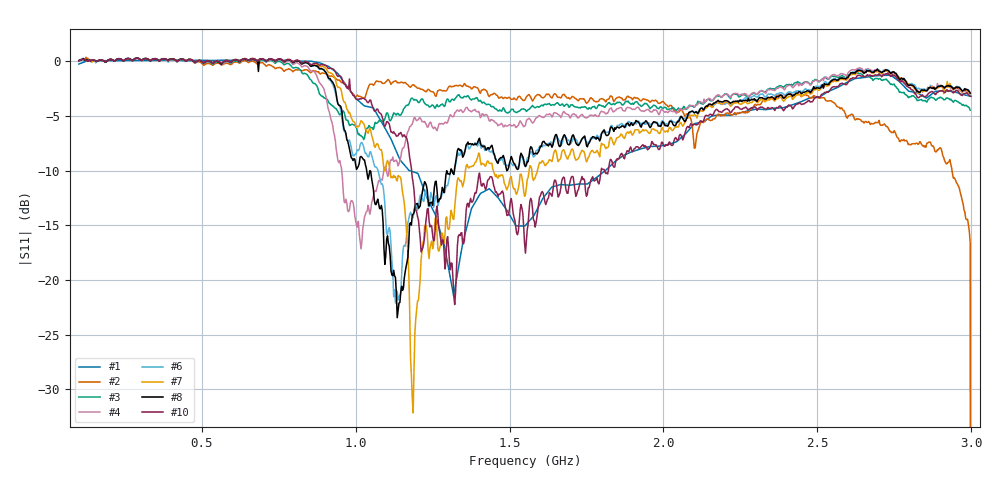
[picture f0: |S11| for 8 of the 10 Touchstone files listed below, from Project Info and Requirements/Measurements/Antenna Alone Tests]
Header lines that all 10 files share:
# HZ S RI R 50
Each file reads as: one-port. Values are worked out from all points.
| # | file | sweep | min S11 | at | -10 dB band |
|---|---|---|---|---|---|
| 1 | anechoic chamber.s1p | 100 MHz to 3 GHz | -21.4 dB | 1.318 GHz | 636.7 MHz wide |
| 2 | new antenna Feed horn V1 76mm from flange.s1p | 100 MHz to 3 GHz | -16.6 dB | 2.997 GHz | over 61.84 MHz wide |
| 3 | new antenna Feed horn V2 68mm from flange.s1p | 100 MHz to 2.997 GHz | -7.2 dB | 1.025 GHz | - |
| 4 | new antenna Feed horn V3 61mm from flange.s1p | 100 MHz to 2.997 GHz | -17.2 dB | 1.017 GHz | 136.9 MHz wide |
| 5 | new antenna Feed horn V4 57mm from flange.s1p | 100 MHz to 2.997 GHz | -23.9 dB | 1.057 GHz | 188.7 MHz wide |
| 6 | new antenna Feed horn V5 53mm from flange.s1p | 100 MHz to 2.997 GHz | -22.1 dB | 1.129 GHz | 237.2 MHz wide |
| 7 | new antenna Feed horn V6 50mm from flange.s1p | 100 MHz to 2.997 GHz | -32.2 dB | 1.186 GHz | 245.2 MHz wide |
| 8 | second new antenna Feed horn V1 53mm from flange.s1p | 100 MHz to 2.997 GHz | -23.5 dB | 1.135 GHz | 273.6 MHz wide |
| 9 | second new antenna Feed horn V2 48mm from flange.s1p | 100 MHz to 2.997 GHz | -22.8 dB | 1.322 GHz | 625.3 MHz wide |
| 10 | second new antenna Feed horn V3 ANOTHER TEST 48mm from flange.s1p | 100 MHz to 2.997 GHz | -22.2 dB | 1.322 GHz | 616.1 MHz wide |
